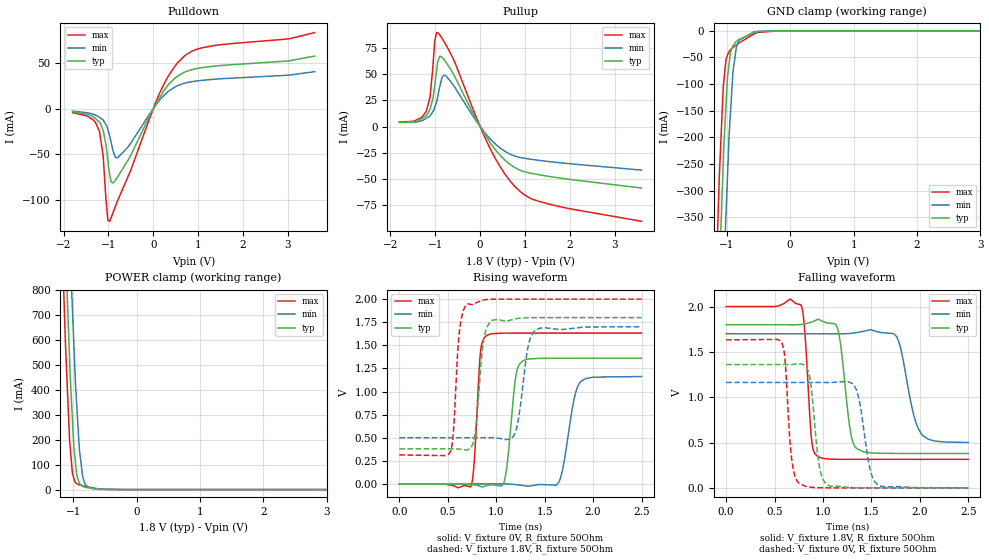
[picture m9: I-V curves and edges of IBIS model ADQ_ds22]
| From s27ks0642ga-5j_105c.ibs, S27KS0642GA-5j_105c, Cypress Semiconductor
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[Model]   ADQ_ds22
Model_type   I/O
Polarity   Non-Inverting
Enable   Active-High
Vinl = 0.54
Vinh = 1.26
Vmeas = 0.9
Vref = 0.9
Cref = 15pF
|   typ   min   max
C_comp   1.03pF   1.01pF   1.05pF
[Voltage Range]   1.8   1.7   2
[Temperature Range]   25   105   -40
[Pullup Reference]   1.8   1.7   2
[Pulldown Reference]   0   0   0
[Power Clamp Reference]   1.8   1.7   2
[GND Clamp Reference]   0   0   0
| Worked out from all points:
|   slope of the pulldown table from 0 to 0.27 V, typ, clamps not added: 12 ohm
|   slope of the pullup table from 0 to 0.27 V, typ, clamps not added: 14.6 ohm
|   falling waveform, V_fixture 1.8V, R_fixture 50Ohm: 20-80 % time 87.8ps typ, 136ps min, 56.2ps max; typ from 1.8 V to 0.38 V
|   rising waveform, V_fixture 0V, R_fixture 50Ohm: 20-80 % time 73.3ps typ, 107ps min, 50ps max; typ from 0 V to 1.36 V
|   rising waveform, V_fixture 1.8V, R_fixture 50Ohm: 20-80 % time 70.7ps typ, 89.3ps min, 57.8ps max; typ from 0.38 V to 1.8 V
|   falling waveform, V_fixture 0V, R_fixture 50Ohm: 20-80 % time 76.4ps typ, 99.5ps min, 60.2ps max; typ from 1.36 V to 0 V
[Pulldown]
|   Voltage   I(typ)   I(min)   I(max)
-1.8V     -3.538mA   -2.801mA   -4.399mA
-1.326V   -9.502mA   -6.397mA   -13mA
-1.2V     -14.76mA   -9.636mA   -24.99mA
-1.118V   -23.86mA   -12.57mA   -51.53mA
-1.056V   -39.7mA    -17.6mA    -99.16mA
-1.012V   -57.09mA   -23.24mA   -122.1mA
-972mV    -71.81mA   -29.94mA   -123.3mA
-894.6mV  -81.35mA   -46.61mA   -113.5mA
-788mV    -74.17mA   -53.47mA   -99.98mA
138mV     11.37mA    9.055mA    16.5mA
685.8mV   39.62mA    27.56mA    57.16mA
3.6V      57.46mA    40.39mA    83.15mA
[GND Clamp]
|   Voltage   I(typ)   I(min)   I(max)
-1.8V     -3.484A    -3.741A    -3.305A
-1.2V     -782.7mA   -1.06A     -586.3mA
-1.123V   -480.4mA   -742.3mA   -296mA
-1.096V   -384mA     -635.9mA   -215.1mA
-1.056V   -250.6mA   -490.5mA   -106.3mA
-1.033V   -187.9mA   -408.1mA   -79.31mA
-1.012V   -140mA     -343.7mA   -54.01mA
-988.2mV  -87.22mA   -271.9mA   -45.42mA
-902.4mV  -28.04mA   -77.88mA   -31.34mA
-810mV    -16.49mA   -18.02mA   -23.06mA
-178.2mV  -260.5nA   -789.8nA   -17.12uA
3.6V      0A         0A         0A
[Pullup]
|   Voltage   I(typ)   I(min)   I(max)
-1.8V     4.062mA    3.899mA    4.161mA
-1.2V     10.44mA    7.857mA    14.55mA
-1.118V   16.27mA    10.13mA    27.54mA
-1.046V   28.02mA    14.64mA    61.41mA
-1.012V   39.22mA    18.27mA    81.64mA
-941.4mV  62.67mA    29.25mA    89.61mA
-849.7mV  66.32mA    46.81mA    84.41mA
-764.7mV  61.81mA    48.5mA     78.43mA
254mV     -17.29mA   -13.13mA   -23.61mA
902mV     -42.02mA   -29.77mA   -62.55mA
1.55V     -47.82mA   -33.59mA   -74.34mA
3.6V      -58.85mA   -41.7mA    -90.69mA
[POWER Clamp]
|   Voltage   I(typ)   I(min)   I(max)
-1.8V     6.849A     7.358A     6.488A
-1.183V   1.451A     2.015A     1.055A
-1.123V   991.5mA    1.531A     604.6mA
-1.096V   796.4mA    1.32A      433.1mA
-1.056V   523.6mA    1.028A     198mA
-1.012V   285.6mA    729.6mA    65.88mA
-988.2mV  169.4mA    581mA      44.21mA
-941.4mV  55.63mA    330.4mA    23.35mA
-902.4mV  26.65mA    162.5mA    18.75mA
-848mV    12.48mA    49.98mA    15.11mA
-764.7mV  7.286mA    9.398mA    10.57mA
3.6V      0A         0A         0A
[Ramp]
R_load = 50
|   typ   min   max
dV/dt_r 8.1618E-01/7.2835E-11   6.9761E-01/1.0681E-10   9.7954E-01/4.9897E-11
dV/dt_f 8.5229E-01/8.7362E-11   7.1968E-01/1.3496E-10   1.0115E+00/5.6112E-11
[Falling Waveform]
V_fixture = 1.8V
V_fixture_min = 1.7V
V_fixture_max = 2V
R_fixture = 50Ohm
C_fixture = 0F
|   Time   V(typ)   V(min)   V(max)
0s        1.8V       1.7V       2V
775ps     1.803V     1.7V       2.011V
880ps     1.828V     1.7V       549.8mV
940ps     1.857V     1.7V       349.8mV
1.15ns    1.759V     1.699V     315.3mV
1.275ns   676.1mV    1.703V     314.5mV
1.345ns   436.4mV    1.713V     314.3mV
1.76ns    379.9mV    1.669V     314.2mV
2.025ns   379.6mV    581.1mV    314.2mV
2.5ns     379.5mV    500.5mV    314.2mV
[Rising Waveform]
V_fixture = 0V
V_fixture_min = 0V
V_fixture_max = 0V
R_fixture = 50Ohm
C_fixture = 0F
|   Time   V(typ)   V(min)   V(max)
0s        0V         0V         0V
740ps     -5.721mV   0V         -24.67mV
775ps     -10.87mV   629.5nV    273mV
835ps     -25.53mV   859.9nV    1.4V
900ps     -17.74mV   -26.1uV    1.605V
1.08ns    14.96mV    533.2uV    1.632V
1.25ns    1.309V     -11.85mV   1.632V
1.65ns    1.36V      25.31mV    1.633V
1.87ns    1.36V      1.105V     1.633V
2.5ns     1.36V      1.163V     1.633V
[Rising Waveform]
V_fixture = 1.8V
V_fixture_min = 1.7V
V_fixture_max = 2V
R_fixture = 50Ohm
C_fixture = 0F
|   Time   V(typ)   V(min)   V(max)
0s        379.5mV    499.7mV    314.2mV
525ps     379.6mV    499.7mV    346.7mV
620ps     377.1mV    499.7mV    1.65V
700ps     368.1mV    499.7mV    1.946V
775ps     504.1mV    499.7mV    1.951V
870ps     1.552V     499.7mV    1.99V
950ps     1.765V     500.2mV    1.999V
1.2ns     1.787V     566mV      2V
1.405ns   1.8V       1.664V     2V
2.5ns     1.8V       1.7V       2V
[Falling Waveform]
|Gnd
V_fixture = 0V
V_fixture_min = 0V
V_fixture_max = 0V
R_fixture = 50Ohm
C_fixture = 0F
|   Time   V(typ)   V(min)   V(max)
0s        1.36V      1.163V     1.633V
575ps     1.36V      1.163V     1.599V
675ps     1.362V     1.163V     329.4mV
755ps     1.368V     1.163V     47.01mV
855ps     1.258V     1.163V     10mV
965ps     220.3mV    1.163V     1.449mV
1.055ns   26.82mV    1.163V     285.9uV
1.335ns   2.064mV    1.105V     6.357uV
1.555ns   99.88uV    45.02mV    585.8nV
2.5ns     0V         11.57uV    0V
